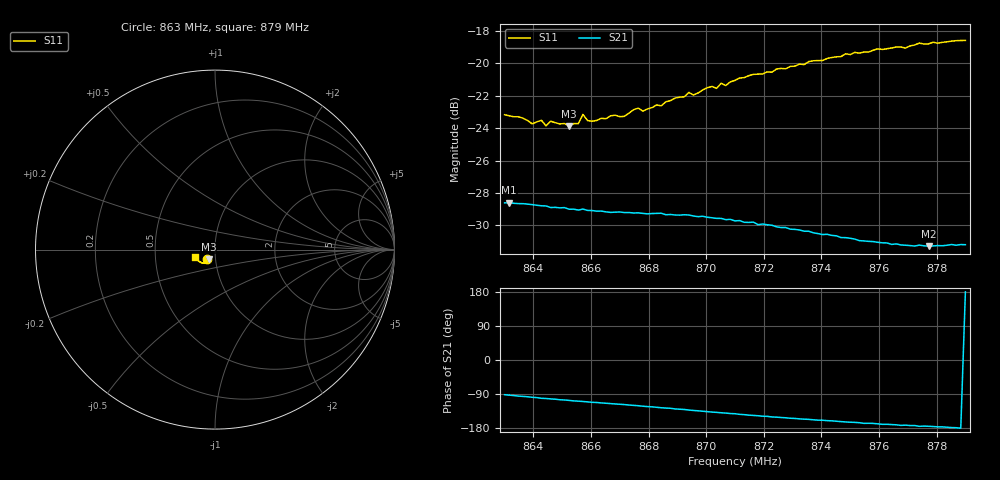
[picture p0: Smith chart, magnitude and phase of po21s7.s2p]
# HZ S RI R 50
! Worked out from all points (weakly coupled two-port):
!   101 points, 863 MHz to 879 MHz, reference 50 ohm
!   highest |S21| = -28.60 dB at 863.16 MHz (marker M1); lowest = -31.3 dB at 877.72 MHz (marker M2)
!   lowest |S11| = -23.9 dB at 865.24 MHz (marker M3), VSWR 1.14, Z = 46.4 - j4.99 ohm
!   |S11| at or under -10 dB: start of sweep to end of sweep
!   S12 and S22 are empty: the file has one direction only
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8.63e8  -0.0443 -0.0534  -0.00102 -0.0371  0 0  0 0
8.6316e8  -0.0436 -0.0533  -0.00181 -0.0371  0 0  0 0
8.6396e8  -0.0383 -0.0526  -0.00534 -0.0363  0 0  0 0
8.6428e8  -0.0404 -0.0531  -0.00699 -0.0357  0 0  0 0
8.6444e8  -0.037 -0.0524  -0.00729 -0.0356  0 0  0 0
8.646e8  -0.038 -0.0543  -0.00789 -0.035  0 0  0 0
8.6524e8  -0.0349 -0.0536  -0.0101 -0.034  0 0  0 0
8.6556e8  -0.0345 -0.0553  -0.0112 -0.0334  0 0  0 0
8.6572e8  -0.0402 -0.0568  -0.0119 -0.0335  0 0  0 0
8.6588e8  -0.0348 -0.0568  -0.0123 -0.0329  0 0  0 0
8.6604e8  -0.0345 -0.0566  -0.013 -0.0327  0 0  0 0
8.6716e8  -0.0321 -0.0607  -0.0161 -0.0307  0 0  0 0
8.6764e8  -0.0349 -0.0638  -0.0176 -0.0298  0 0  0 0
8.678e8  -0.0336 -0.0628  -0.0182 -0.0292  0 0  0 0
8.6844e8  -0.0349 -0.0652  -0.0203 -0.0279  0 0  0 0
8.694e8  -0.039 -0.0714  -0.0228 -0.0253  0 0  0 0
8.6956e8  -0.0394 -0.0695  -0.0231 -0.0246  0 0  0 0
8.71e8  -0.0476 -0.0748  -0.0257 -0.0202  0 0  0 0
8.7372e8  -0.0678 -0.076  -0.0278 -0.0113  0 0  0 0
8.7644e8  -0.0925 -0.0625  -0.0272 -0.00458  0 0  0 0
8.7772e8  -0.102 -0.0529  -0.0272 -0.0024  0 0  0 0
8.79e8  -0.1107 -0.04  -0.0276 0.000153  0 0  0 0
